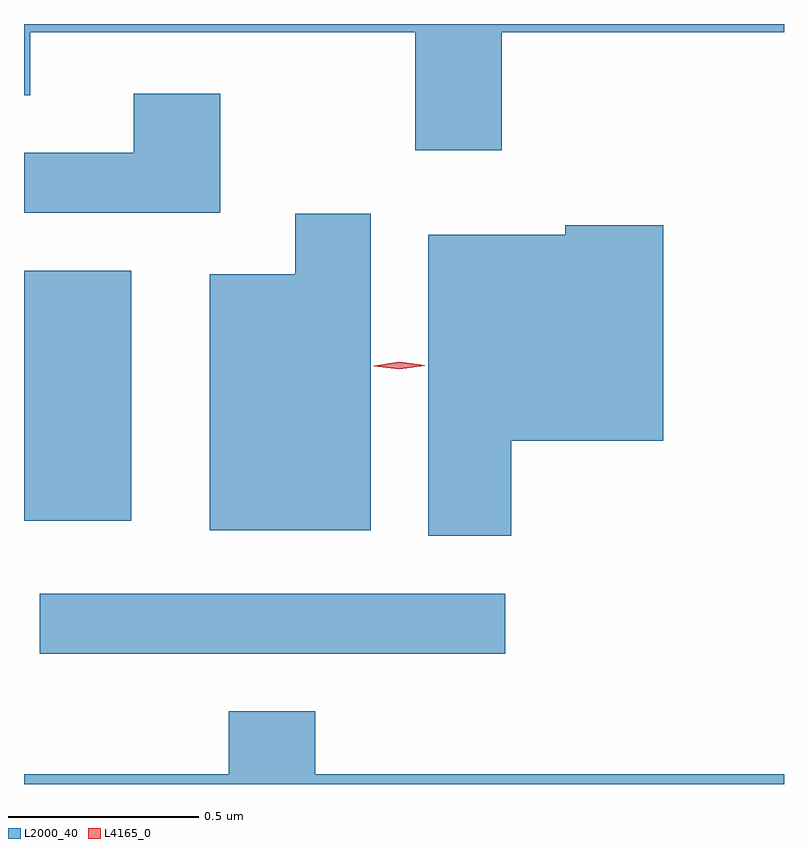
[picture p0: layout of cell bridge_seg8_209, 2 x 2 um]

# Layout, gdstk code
import gdstk
lib = gdstk.Library(unit=1e-6, precision=1e-09)
def R(c, l, rs):  # rectangles x0, y0, x1, y1
    for r in rs: c.add(gdstk.rectangle(r[:2], r[2:], *l))
def P(c, l, *ps):  # polygons
    for p in ps: c.add(gdstk.Polygon(p, *l))
L2000_40 = (2000, 40)
L4165_0 = (4165, 0)

bridge_seg8_209 = lib.new_cell('bridge_seg8_209')
R(bridge_seg8_209, L2000_40, [(1209.923,1903.601,1211.148,1903.759), (1209.882,1903.951,1210.164,1904.609)])
P(bridge_seg8_209, L2000_40, [(1211.139,1905.236),(1211.882,1905.236),(1211.882,1905.258),(1209.882,1905.258),(1209.882,1905.071),(1209.899,1905.071),(1209.899,1905.236),(1210.911,1905.236),(1210.911,1904.926),(1211.139,1904.926)],
  [(1210.399,1905.074),(1210.171,1905.074),(1210.171,1904.919),(1209.882,1904.919),(1209.882,1904.761),(1210.399,1904.761)],
  [(1210.794,1904.759),(1210.596,1904.759),(1210.596,1904.599),(1210.371,1904.599),(1210.371,1903.926),(1210.794,1903.926)],
  [(1211.164,1904.161),(1211.564,1904.161),(1211.564,1904.729),(1211.306,1904.729),(1211.306,1904.704),(1210.946,1904.704),(1210.946,1903.911),(1211.164,1903.911)],
  [(1211.882,1903.284),(1210.649,1903.284),(1210.649,1903.449),(1210.421,1903.449),(1210.421,1903.284),(1209.882,1903.284),(1209.882,1903.258),(1211.882,1903.258)])
P(bridge_seg8_209, L4165_0, [(1210.87,1904.349),(1210.804,1904.358),(1210.803,1904.358),(1210.804,1904.359),(1210.869,1904.369),(1210.936,1904.36),(1210.936,1904.36),(1210.936,1904.359)])

lib.write_gds('bridge_seg8_209.gds')
